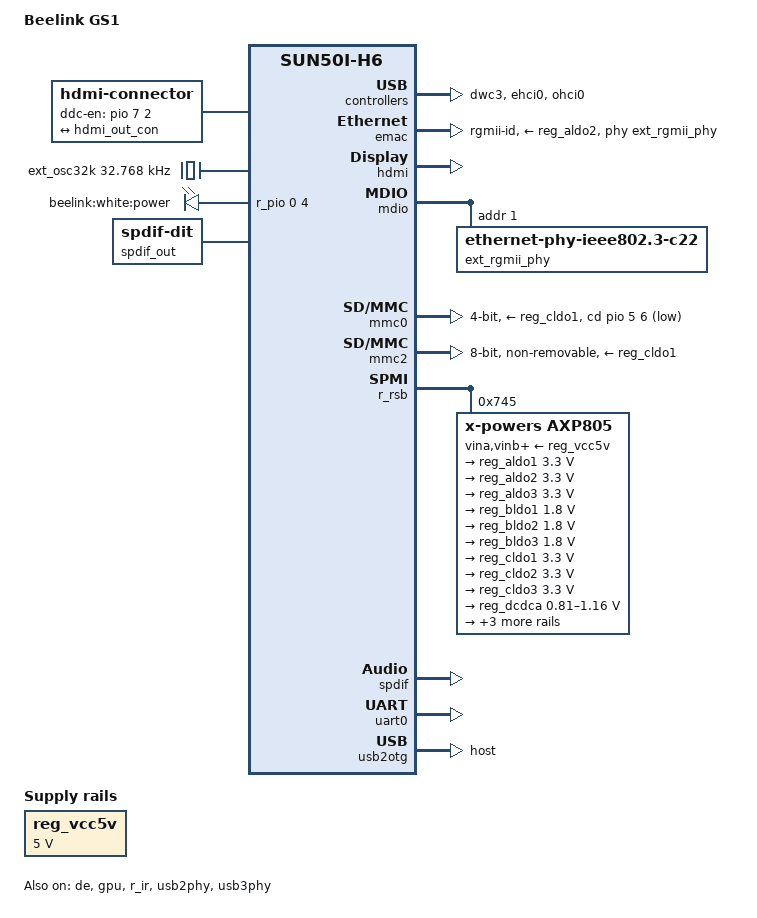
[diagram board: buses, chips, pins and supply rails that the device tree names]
// SPDX-License-Identifier: (GPL-2.0+ OR MIT)
// Copyright (C) 2019 Clément Péron <peron.clem@gmail.com>

/dts-v1/;

#include "sun50i-h6.dtsi"
#include "sun50i-h6-cpu-opp.dtsi"
#include "sun50i-h6-gpu-opp.dtsi"

#include <dt-bindings/gpio/gpio.h>

/ {
	model = "Beelink GS1";
	compatible = "azw,beelink-gs1", "allwinner,sun50i-h6";

	aliases {
		ethernet0 = &emac;
		serial0 = &uart0;
	};

	chosen {
		stdout-path = "serial0:115200n8";
	};

	connector {
		compatible = "hdmi-connector";
		type = "a";
		ddc-en-gpios = <&pio 7 2 GPIO_ACTIVE_HIGH>; /* PH2 */

		port {
			hdmi_con_in: endpoint {
				remote-endpoint = <&hdmi_out_con>;
			};
		};
	};

	ext_osc32k: ext_osc32k_clk {
		#clock-cells = <0>;
		compatible = "fixed-clock";
		clock-frequency = <32768>;
		clock-output-names = "ext_osc32k";
	};

	leds {
		compatible = "gpio-leds";

		led {
			label = "beelink:white:power";
			gpios = <&r_pio 0 4 GPIO_ACTIVE_HIGH>; /* PL4 */
			default-state = "on";
		};
	};

	reg_vcc5v: vcc5v {
		/* board wide 5V supply directly from the DC jack */
		compatible = "regulator-fixed";
		regulator-name = "vcc-5v";
		regulator-min-microvolt = <5000000>;
		regulator-max-microvolt = <5000000>;
		regulator-always-on;
	};

	sound-spdif {
		compatible = "simple-audio-card";
		simple-audio-card,name = "sun50i-h6-spdif";

		simple-audio-card,cpu {
			sound-dai = <&spdif>;
		};

		simple-audio-card,codec {
			sound-dai = <&spdif_out>;
		};
	};

	spdif_out: spdif-out {
		#sound-dai-cells = <0>;
		compatible = "linux,spdif-dit";
	};
};

&cpu0 {
	cpu-supply = <&reg_dcdca>;
};

&de {
	status = "okay";
};

&dwc3 {
	status = "okay";
};

&ehci0 {
	status = "okay";
};

&emac {
	pinctrl-names = "default";
	pinctrl-0 = <&ext_rgmii_pins>;
	phy-mode = "rgmii-id";
	phy-handle = <&ext_rgmii_phy>;
	phy-supply = <&reg_aldo2>;
	status = "okay";
};

&gpu {
	mali-supply = <&reg_dcdcc>;
	status = "okay";
};

&hdmi {
	status = "okay";
};

&hdmi_out {
	hdmi_out_con: endpoint {
		remote-endpoint = <&hdmi_con_in>;
	};
};

&mdio {
	ext_rgmii_phy: ethernet-phy@1 {
		compatible = "ethernet-phy-ieee802.3-c22";
		reg = <1>;
	};
};

&mmc0 {
	vmmc-supply = <&reg_cldo1>;
	cd-gpios = <&pio 5 6 GPIO_ACTIVE_LOW>;
	bus-width = <4>;
	status = "okay";
};

&mmc2 {
	vmmc-supply = <&reg_cldo1>;
	vqmmc-supply = <&reg_bldo2>;
	non-removable;
	cap-mmc-hw-reset;
	bus-width = <8>;
	status = "okay";
};

&ohci0 {
	status = "okay";
};

&pio {
	vcc-pd-supply = <&reg_cldo1>;
	vcc-pg-supply = <&reg_aldo1>;
};

&r_ir {
	linux,rc-map-name = "rc-beelink-gs1";
	status = "okay";
};

&r_pio {
	/*
	 * FIXME: We can't add that supply for now since it would
	 * create a circular dependency between pinctrl, the regulator
	 * and the RSB Bus.
	 *
	 * vcc-pl-supply = <&reg_aldo1>;
	 */
	vcc-pm-supply = <&reg_aldo1>;
};

&r_rsb {
	status = "okay";

	axp805: pmic@745 {
		compatible = "x-powers,axp805", "x-powers,axp806";
		reg = <0x745>;
		interrupt-parent = <&r_intc>;
		interrupts = <GIC_SPI 96 IRQ_TYPE_LEVEL_LOW>;
		interrupt-controller;
		#interrupt-cells = <1>;
		x-powers,self-working-mode;
		vina-supply = <&reg_vcc5v>;
		vinb-supply = <&reg_vcc5v>;
		vinc-supply = <&reg_vcc5v>;
		vind-supply = <&reg_vcc5v>;
		vine-supply = <&reg_vcc5v>;
		aldoin-supply = <&reg_vcc5v>;
		bldoin-supply = <&reg_vcc5v>;
		cldoin-supply = <&reg_vcc5v>;

		regulators {
			reg_aldo1: aldo1 {
				regulator-always-on;
				regulator-min-microvolt = <3300000>;
				regulator-max-microvolt = <3300000>;
				regulator-name = "vcc-pl";
			};

			reg_aldo2: aldo2 {
				regulator-min-microvolt = <3300000>;
				regulator-max-microvolt = <3300000>;
				regulator-name = "vcc-ac200";
				regulator-enable-ramp-delay = <100000>;
			};

			reg_aldo3: aldo3 {
				regulator-always-on;
				regulator-min-microvolt = <3300000>;
				regulator-max-microvolt = <3300000>;
				regulator-name = "vcc25-dram";
			};

			reg_bldo1: bldo1 {
				regulator-always-on;
				regulator-min-microvolt = <1800000>;
				regulator-max-microvolt = <1800000>;
				regulator-name = "vcc-bias-pll";
			};

			reg_bldo2: bldo2 {
				regulator-always-on;
				regulator-min-microvolt = <1800000>;
				regulator-max-microvolt = <1800000>;
				regulator-name = "vcc-efuse-pcie-hdmi-io";
			};

			reg_bldo3: bldo3 {
				regulator-always-on;
				regulator-min-microvolt = <1800000>;
				regulator-max-microvolt = <1800000>;
				regulator-name = "vcc-dcxoio";
			};

			bldo4 {
				/* unused */
			};

			reg_cldo1: cldo1 {
				regulator-always-on;
				regulator-min-microvolt = <3300000>;
				regulator-max-microvolt = <3300000>;
				regulator-name = "vcc-3v3";
			};

			reg_cldo2: cldo2 {
				regulator-min-microvolt = <3300000>;
				regulator-max-microvolt = <3300000>;
				regulator-name = "vcc-wifi-1";
			};

			reg_cldo3: cldo3 {
				regulator-min-microvolt = <3300000>;
				regulator-max-microvolt = <3300000>;
				regulator-name = "vcc-wifi-2";
			};

			reg_dcdca: dcdca {
				regulator-always-on;
				regulator-min-microvolt = <810000>;
				regulator-max-microvolt = <1160000>;
				regulator-ramp-delay = <2500>;
				regulator-name = "vdd-cpu";
			};

			reg_dcdcc: dcdcc {
				regulator-enable-ramp-delay = <32000>;
				regulator-min-microvolt = <810000>;
				regulator-max-microvolt = <1080000>;
				regulator-ramp-delay = <2500>;
				regulator-name = "vdd-gpu";
			};

			reg_dcdcd: dcdcd {
				regulator-always-on;
				regulator-min-microvolt = <960000>;
				regulator-max-microvolt = <960000>;
				regulator-name = "vdd-sys";
			};

			reg_dcdce: dcdce {
				regulator-always-on;
				regulator-min-microvolt = <1200000>;
				regulator-max-microvolt = <1200000>;
				regulator-name = "vcc-dram";
			};

			sw {
				/* unused */
			};
		};
	};
};

&spdif {
	status = "okay";
};

&uart0 {
	pinctrl-names = "default";
	pinctrl-0 = <&uart0_ph_pins>;
	status = "okay";
};

&usb2otg {
	dr_mode = "host";
	status = "okay";
};

&usb2phy {
	usb0_vbus-supply = <&reg_vcc5v>;
	status = "okay";
};

&usb3phy {
	status = "okay";
};
